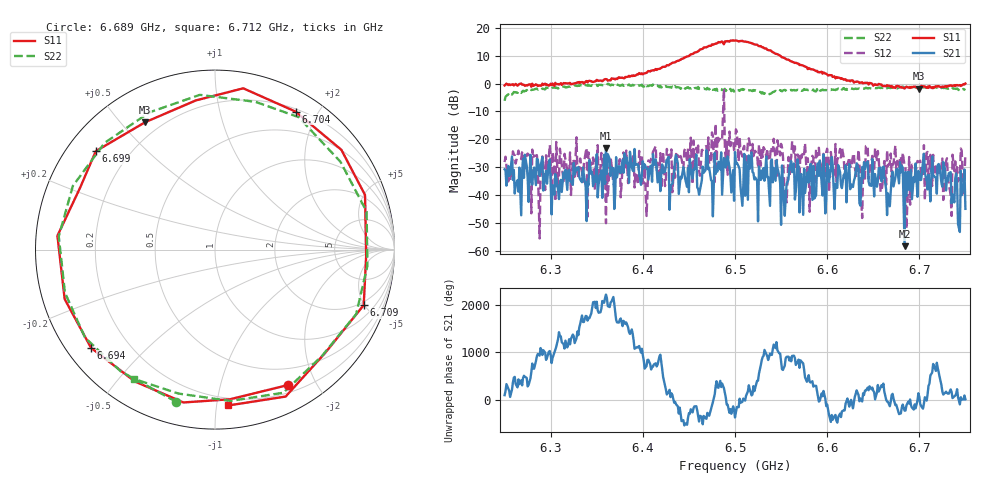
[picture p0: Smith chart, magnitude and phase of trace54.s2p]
# Hz S RI R 50
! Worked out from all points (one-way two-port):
!   401 points, 6.25 GHz to 6.75 GHz, reference 50 ohm
!   highest |S21| = -23.30 dB at 6.36 GHz (marker M1); lowest = -58.4 dB at 6.684 GHz (marker M2)
!   lowest |S11| = -1.8 dB at 6.7 GHz (marker M3), VSWR 9.49, Z = 7.08 + j29.1 ohm
!   |S11| at or under -10 dB: nowhere
!   |S22| runs from -6.2 to 0.0 dB; largest |S21 - S12| = 0.8
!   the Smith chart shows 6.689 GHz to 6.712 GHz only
!   S11 on the Smith chart (normalised r, x): 6.689 GHz: 0.29, -1.64; 6.694 GHz: 0.07, -0.35; 6.699 GHz: 0.08, +0.36; 6.704 GHz: 0.23, +1.72; 6.709 GHz: 1.74, -4.95; 6.712 GHz: 0.15, -1.08
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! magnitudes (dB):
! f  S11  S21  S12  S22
! 6.25 GHz  -0.6  -30.8  -28.2  -6.2
! 6.334 GHz  0.6  -35.4  -31.8  -0.7
! 6.36 GHz  1.6  -23.3  -50.1  -0.6
! 6.38 GHz  2.0  -25.1  -26.5  -0.5
! 6.402 GHz  3.7  -29.0  -30.0  -0.2
! 6.411 GHz  4.8  -25.4  -24.5  -0.3
! 6.418 GHz  5.3  -31.9  -34.7  -1.3
! 6.5 GHz  15.5  -24.6  -24.0  -2.3
! 6.584 GHz  5.1  -41.8  -25.9  -2.3
! 6.59 GHz  4.1  -28.6  -24.0  -2.6
! 6.639 GHz  0.1  -34.0  -31.8  -1.7
! 6.641 GHz  0.3  -30.7  -34.7  -1.7
! 6.668 GHz  -0.8  -44.0  -28.5  -1.5
! 6.684 GHz  -1.7  -58.4  -29.5  -1.3
! 6.689 GHz  -1.3  -38.2  -26.4  -1.2
! 6.694 GHz  -1.1  -33.5  -29.6  -1.2
! 6.699 GHz  -1.3  -31.4  -28.0  -1.2
! 6.7 GHz  -1.8  -32.9  -28.1  -1.4
! 6.704 GHz  -1.0  -28.4  -33.3  -1.2
! 6.709 GHz  -1.1  -38.0  -24.5  -1.1
! 6.712 GHz  -1.2  -42.3  -25.6  -1.4
! 6.75 GHz  0.1  -45.0  -25.4  -2.3
